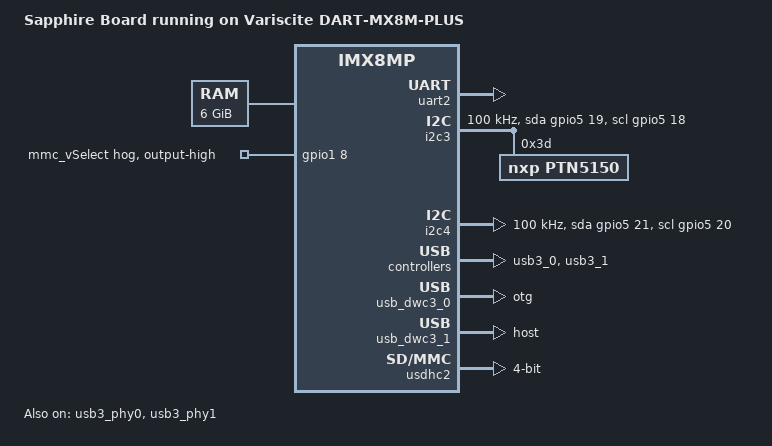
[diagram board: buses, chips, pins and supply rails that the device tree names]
// SPDX-License-Identifier: (GPL-2.0+ OR MIT)
/*
 * Copyright 2019 NXP
 * Copyright 2020-2022 Variscite Ltd.
 */

#include "imx8mp-var-dart.dtsi"

/ {
	model = "Sapphire Board running on Variscite DART-MX8M-PLUS ";

	chosen {
		stdout-path = &uart2;
	};

	memory@40000000 {
		device_type = "memory";
		reg = <0x0 0x40000000 0 0xc0000000>,
		      <0x1 0x00000000 0 0xc0000000>;
	};

};

&uart2 {
	pinctrl-names = "default";
	pinctrl-0 = <&pinctrl_uart2>;
	status = "okay";
};


&i2c3 {
	clock-frequency = <100000>;
	pinctrl-names = "default", "gpio";
	pinctrl-0 = <&pinctrl_i2c3>;
	pinctrl-1 = <&pinctrl_i2c3_gpio>;
	scl-gpios = <&gpio5 18 GPIO_ACTIVE_HIGH>;
	sda-gpios = <&gpio5 19 GPIO_ACTIVE_HIGH>;
	status = "okay";

	ptn5150: ptn5150@3d {
		compatible = "nxp,ptn5150";
		pinctrl-names = "default";
		reg = <0x3d>;
		i2c-bus = <0x1>;
		status = "okay";
	};
};

&i2c4 {
	clock-frequency = <100000>;
	pinctrl-names = "default", "gpio";
	pinctrl-0 = <&pinctrl_i2c4>;
	pinctrl-1 = <&pinctrl_i2c4_gpio>;
	scl-gpios = <&gpio5 20 GPIO_ACTIVE_HIGH>;
	sda-gpios = <&gpio5 21 GPIO_ACTIVE_HIGH>;
	status = "okay";

};

&usb3_phy0 {
	fsl,phy-tx-vref-tune = <0xe>;
	fsl,phy-tx-preemp-amp-tune = <3>;
	fsl,phy-tx-vboost-level = <5>;
	fsl,phy-comp-dis-tune = <7>;
	fsl,pcs-tx-deemph-3p5db = <0x21>;
	fsl,phy-pcs-tx-swing-full = <0x7f>;
	status = "okay";
};

&usb3_0 {
	status = "okay";
};

&usb_dwc3_0 {
	dr_mode = "otg";
	extcon = <&ptn5150>;
	hnp-disable;
	srp-disable;
	adp-disable;
	usb-role-switch;
	role-switch-default-mode = "none";
	status = "okay";
};

&usb3_phy1 {
	fsl,phy-tx-preemp-amp-tune = <3>;
	fsl,phy-tx-vref-tune = <0xb>;
	status = "okay";
};

&usb3_1 {
	status = "okay";
};

&usb_dwc3_1 {
	dr_mode = "host";
	status = "okay";
};




&usdhc2 {
	pinctrl-names = "default", "state_100mhz", "state_200mhz";
	pinctrl-0 = <&pinctrl_usdhc2>;
	pinctrl-1 = <&pinctrl_usdhc2_100mhz>;
	pinctrl-2 = <&pinctrl_usdhc2_200mhz>;
	bus-width = <4>;
	no-1-8-v;
	status = "okay";
};

&gpio1 {
	mmc_V_select {
		gpio-hog;
		gpios = <8 0>;
		output-high;
		line-name = "mmc_vSelect";
	};
};

&iomuxc {
	pinctrl-names = "default";
	pinctrl-0 = <&pinctrl_hog>;

	pinctrl_hog: hoggrp {
		fsl,pins = <
		MX8MP_IOMUXC_GPIO1_IO08__GPIO1_IO08					0x19

		>;
	};

	pinctrl_uart2: uart2grp {
		fsl,pins = <
			MX8MP_IOMUXC_UART2_RXD__UART2_DCE_RX				0x40
			MX8MP_IOMUXC_UART2_TXD__UART2_DCE_TX				0x40
		>;
	};

	pinctrl_i2c3: i2c3grp {
		fsl,pins = <
			MX8MP_IOMUXC_I2C3_SCL__I2C3_SCL					0x400001c2
			MX8MP_IOMUXC_I2C3_SDA__I2C3_SDA					0x400001c2
		>;
	};

	pinctrl_i2c4: i2c4grp {
		fsl,pins = <
			MX8MP_IOMUXC_I2C4_SCL__I2C4_SCL					0x400001c2
			MX8MP_IOMUXC_I2C4_SDA__I2C4_SDA					0x400001c2
		>;
	};

	pinctrl_i2c3_gpio: i2c3-gpiogrp {
		fsl,pins = <
			MX8MP_IOMUXC_I2C3_SCL__GPIO5_IO18				0x1c2
			MX8MP_IOMUXC_I2C3_SDA__GPIO5_IO19				0x1c2
		>;
	};

	pinctrl_i2c4_gpio: i2c4-gpiogrp {
		fsl,pins = <
			MX8MP_IOMUXC_I2C4_SCL__GPIO5_IO20				0x1c2
			MX8MP_IOMUXC_I2C4_SDA__GPIO5_IO21				0x1c2
		>;
	};


	pinctrl_usdhc2: usdhc2grp {
		fsl,pins = <
			MX8MP_IOMUXC_SD2_CLK__USDHC2_CLK				0x190
			MX8MP_IOMUXC_SD2_CMD__USDHC2_CMD				0x1d0
			MX8MP_IOMUXC_SD2_DATA0__USDHC2_DATA0				0x1d0
			MX8MP_IOMUXC_SD2_DATA1__USDHC2_DATA1				0x1d0
			MX8MP_IOMUXC_SD2_DATA2__USDHC2_DATA2				0x1d0
			MX8MP_IOMUXC_SD2_DATA3__USDHC2_DATA3				0x1d0
		>;
	};

	pinctrl_usdhc2_100mhz: usdhc2-100mhzgrp {
		fsl,pins = <
			MX8MP_IOMUXC_SD2_CLK__USDHC2_CLK				0x194
			MX8MP_IOMUXC_SD2_CMD__USDHC2_CMD				0x1d4
			MX8MP_IOMUXC_SD2_DATA0__USDHC2_DATA0				0x1d4
			MX8MP_IOMUXC_SD2_DATA1__USDHC2_DATA1				0x1d4
			MX8MP_IOMUXC_SD2_DATA2__USDHC2_DATA2				0x1d4
			MX8MP_IOMUXC_SD2_DATA3__USDHC2_DATA3				0x1d4
		>;
	};

	pinctrl_usdhc2_200mhz: usdhc2-200mhzgrp {
		fsl,pins = <
			MX8MP_IOMUXC_SD2_CLK__USDHC2_CLK				0x196
			MX8MP_IOMUXC_SD2_CMD__USDHC2_CMD				0x1d6
			MX8MP_IOMUXC_SD2_DATA0__USDHC2_DATA0				0x1d6
			MX8MP_IOMUXC_SD2_DATA1__USDHC2_DATA1				0x1d6
			MX8MP_IOMUXC_SD2_DATA2__USDHC2_DATA2				0x1d6
			MX8MP_IOMUXC_SD2_DATA3__USDHC2_DATA3				0x1d6
		>;
	};


};
